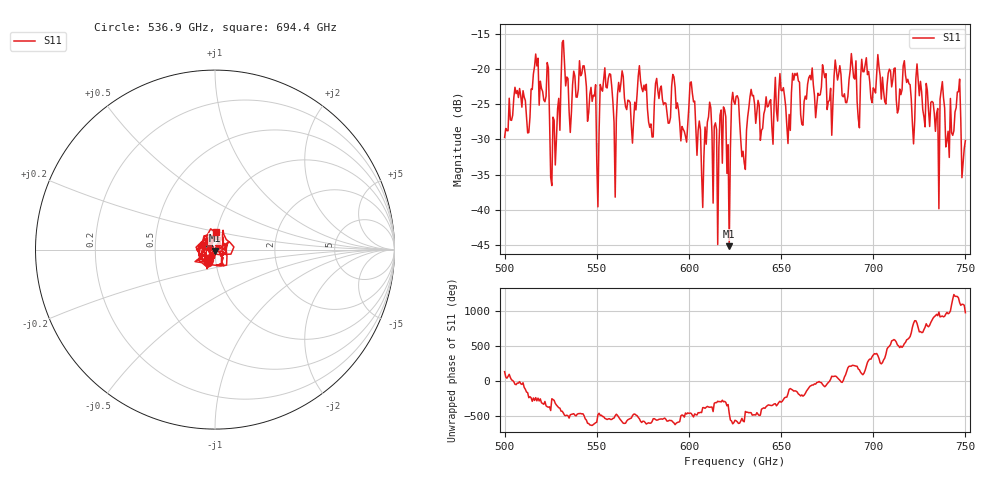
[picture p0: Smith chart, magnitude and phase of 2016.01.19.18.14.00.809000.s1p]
!Created with skrf (http://scikit-rf.org).
# GHz S RI R 50.0
!freq ReS11 ImS11
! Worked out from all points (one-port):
!   401 points, 500 GHz to 750 GHz, reference 50 ohm
!   lowest |S11| = -45.2 dB at 621.9 GHz (marker M1), VSWR 1.01, Z = 49.8 - j0.511 ohm
!   |S11| at or under -10 dB: start of sweep to end of sweep
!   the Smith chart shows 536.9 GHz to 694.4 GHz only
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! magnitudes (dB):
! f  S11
! 500 GHz  -29.7
! 506.9 GHz  -23.0
! 513.1 GHz  -29.0
! 516.9 GHz  -17.8
! 523.1 GHz  -19.0
! 526.2 GHz  -26.8
! 531.2 GHz  -16.2
! 535.6 GHz  -29.0
! 541.9 GHz  -20.6
! 550 GHz  -33.1
! 553.1 GHz  -23.1
! 560 GHz  -38.2
! 562.5 GHz  -23.2
! 593.8 GHz  -24.8
! 598.1 GHz  -29.5
! 601.9 GHz  -23.4
! 608.1 GHz  -32.5
! 618.8 GHz  -25.3
! 621.9 GHz  -45.2
! 625 GHz  -25.0
! 629.4 GHz  -31.7
! 633.8 GHz  -22.8
! 656.2 GHz  -20.6
! 687.5 GHz  -20.1
! 718.8 GHz  -21.4
! 734.4 GHz  -26.3
! 745.6 GHz  -23.2
! 750 GHz  -30.1
